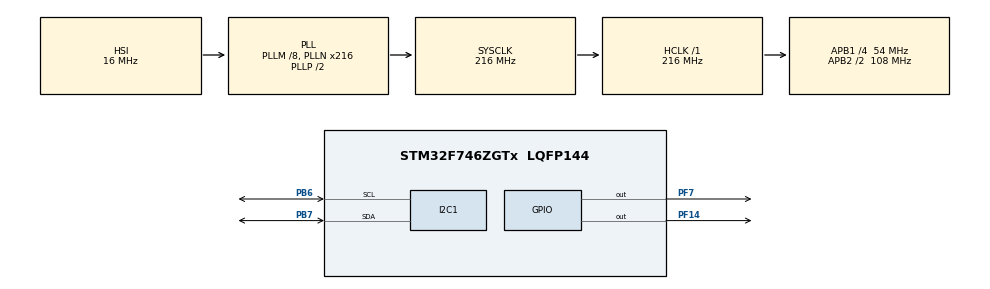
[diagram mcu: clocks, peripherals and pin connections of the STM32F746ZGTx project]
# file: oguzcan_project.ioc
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FREERTOS.Tasks01=defaultTask,24,128,StartDefaultTask,Default,NULL,Dynamic,NULL,NULL;sense,24,128,read_pressure,Default,NULL,Dynamic,NULL,NULL;decide,24,128,explosion,Default,NULL,Dynamic,NULL,NULL
FREERTOS.configUSE_NEWLIB_REENTRANT=1
I2C1.Timing=0x20404768
Mcu.Family=STM32F7
Mcu.Name=STM32F746ZGTx
Mcu.Package=LQFP144
NVIC.PriorityGroup=NVIC_PRIORITYGROUP_4
NVIC.TIM1_UP_TIM10_IRQn=true\:15\:0\:false\:false\:true\:false\:false\:true\:true
NVIC.TimeBase=TIM1_UP_TIM10_IRQn
NVIC.TimeBaseIP=TIM1
PA13.Mode=Serial_Wire
PA13.Signal=SYS_JTMS-SWDIO
PA14.Mode=Serial_Wire
PA14.Signal=SYS_JTCK-SWCLK
PB6.Mode=I2C
PB6.Signal=I2C1_SCL
PB7.Mode=I2C
PB7.Signal=I2C1_SDA
PF14.Signal=GPIO_Output
PF7.Signal=GPIO_Output
ProjectManager.HeapSize=0x200
ProjectManager.StackSize=0x400
ProjectManager.TargetToolchain=STM32CubeIDE
RCC.AHBFreq_Value=216000000
RCC.APB1CLKDivider=RCC_HCLK_DIV4
RCC.APB1Freq_Value=54000000
RCC.APB1TimFreq_Value=108000000
RCC.APB2CLKDivider=RCC_HCLK_DIV2
RCC.APB2Freq_Value=108000000
RCC.APB2TimFreq_Value=216000000
RCC.CortexFreq_Value=216000000
RCC.HCLKFreq_Value=216000000
RCC.HSE_VALUE=25000000
RCC.HSI_VALUE=16000000
RCC.LSE_VALUE=32768
RCC.PLLM=8
RCC.PLLN=216
RCC.SYSCLKFreq_VALUE=216000000
RCC.SYSCLKSource=RCC_SYSCLKSOURCE_PLLCLK
RCC.USBFreq_Value=216000000
RCC.VCOOutputFreq_Value=432000000
VP_FREERTOS_VS_CMSIS_V2.Mode=CMSIS_V2
VP_SYS_VS_tim1.Mode=TIM1
board=custom

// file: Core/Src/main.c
/* USER CODE BEGIN Header */
/**
  ******************************************************************************
  * @file           : main.c
  * @brief          : Main program body
  ******************************************************************************
  * @attention
  *
  * Copyright (c) 2023 STMicroelectronics.
  * All rights reserved.
  *
  * This software is licensed under terms that can be found in the LICENSE file
  * in the root directory of this software component.
  * If no LICENSE file comes with this software, it is provided AS-IS.
  *
  ******************************************************************************
  */
/* USER CODE END Header */
#include "main.h"
#include "cmsis_os.h"

/* USER CODE BEGIN Includes */
#include "bmp280.h"
/* USER CODE END Includes */

/* USER CODE BEGIN PTD */
BMP280_HandleTypedef bmp280;
/* USER CODE END PTD */

/* USER CODE BEGIN PM */
float pressure, temperature, humidity, altitude, reference_altitude, related_altitude;
int i;
/* USER CODE END PM */

I2C_HandleTypeDef hi2c1;

/* Definitions for defaultTask */
osThreadId_t defaultTaskHandle;
const osThreadAttr_t defaultTask_attributes = {
  .name = "defaultTask",
  .stack_size = 128 * 4,
  .priority = (osPriority_t) osPriorityNormal,
};
/* Definitions for sense */
osThreadId_t senseHandle;
const osThreadAttr_t sense_attributes = {
  .name = "sense",
  .stack_size = 128 * 4,
  .priority = (osPriority_t) osPriorityNormal,
};
/* Definitions for decide */
osThreadId_t decideHandle;
const osThreadAttr_t decide_attributes = {
  .name = "decide",
  .stack_size = 128 * 4,
  .priority = (osPriority_t) osPriorityNormal,
};

void SystemClock_Config(void);
static void MX_GPIO_Init(void);
static void MX_I2C1_Init(void);
void StartDefaultTask(void *argument);
void read_pressure(void *argument);
void explosion(void *argument);

int main(void)
{

  /* MCU Configuration--------------------------------------------------------*/

  /* Reset of all peripherals, Initializes the Flash interface and the Systick. */
  HAL_Init();

  /* Configure the system clock */
  SystemClock_Config();

  /* Initialize all configured peripherals */
  MX_GPIO_Init();
  MX_I2C1_Init();

  /* Init scheduler */
  osKernelInitialize();

  /* Create the thread(s) */
  /* creation of defaultTask */
  defaultTaskHandle = osThreadNew(StartDefaultTask, NULL, &defaultTask_attributes);

  /* creation of sense */
  senseHandle = osThreadNew(read_pressure, NULL, &sense_attributes);

  /* creation of decide */
  decideHandle = osThreadNew(explosion, NULL, &decide_attributes);

  /* Start scheduler */
  osKernelStart();

  /* We should never get here as control is now taken by the scheduler */
  /* Infinite loop */
  while (1)
  {

  }
}

void SystemClock_Config(void)
{
  RCC_OscInitTypeDef RCC_OscInitStruct = {0};
  RCC_ClkInitTypeDef RCC_ClkInitStruct = {0};

  /** Configure the main internal regulator output voltage
  */
  __HAL_RCC_PWR_CLK_ENABLE();
  __HAL_PWR_VOLTAGESCALING_CONFIG(PWR_REGULATOR_VOLTAGE_SCALE1);

  /** Initializes the RCC Oscillators according to the specified parameters
  * in the RCC_OscInitTypeDef structure.
  */
  RCC_OscInitStruct.OscillatorType = RCC_OSCILLATORTYPE_HSI;
  RCC_OscInitStruct.HSIState = RCC_HSI_ON;
  RCC_OscInitStruct.HSICalibrationValue = RCC_HSICALIBRATION_DEFAULT;
  RCC_OscInitStruct.PLL.PLLState = RCC_PLL_ON;
  RCC_OscInitStruct.PLL.PLLSource = RCC_PLLSOURCE_HSI;
  RCC_OscInitStruct.PLL.PLLM = 8;
  RCC_OscInitStruct.PLL.PLLN = 216;
  RCC_OscInitStruct.PLL.PLLP = RCC_PLLP_DIV2;
  RCC_OscInitStruct.PLL.PLLQ = 2;
  if (HAL_RCC_OscConfig(&RCC_OscInitStruct) != HAL_OK)
  {
    Error_Handler();
  }

  /** Activate the Over-Drive mode
  */
  if (HAL_PWREx_EnableOverDrive() != HAL_OK)
  {
    Error_Handler();
  }

  /** Initializes the CPU, AHB and APB buses clocks
  */
  RCC_ClkInitStruct.ClockType = RCC_CLOCKTYPE_HCLK|RCC_CLOCKTYPE_SYSCLK
                              |RCC_CLOCKTYPE_PCLK1|RCC_CLOCKTYPE_PCLK2;
  RCC_ClkInitStruct.SYSCLKSource = RCC_SYSCLKSOURCE_PLLCLK;
  RCC_ClkInitStruct.AHBCLKDivider = RCC_SYSCLK_DIV1;
  RCC_ClkInitStruct.APB1CLKDivider = RCC_HCLK_DIV4;
  RCC_ClkInitStruct.APB2CLKDivider = RCC_HCLK_DIV2;

  if (HAL_RCC_ClockConfig(&RCC_ClkInitStruct, FLASH_LATENCY_7) != HAL_OK)
  {
    Error_Handler();
  }
}

static void MX_I2C1_Init(void)
{

  hi2c1.Instance = I2C1;
  hi2c1.Init.Timing = 0x20404768;
  hi2c1.Init.OwnAddress1 = 0;
  hi2c1.Init.AddressingMode = I2C_ADDRESSINGMODE_7BIT;
  hi2c1.Init.DualAddressMode = I2C_DUALADDRESS_DISABLE;
  hi2c1.Init.OwnAddress2 = 0;
  hi2c1.Init.OwnAddress2Masks = I2C_OA2_NOMASK;
  hi2c1.Init.GeneralCallMode = I2C_GENERALCALL_DISABLE;
  hi2c1.Init.NoStretchMode = I2C_NOSTRETCH_DISABLE;
  if (HAL_I2C_Init(&hi2c1) != HAL_OK)
  {
    Error_Handler();
  }

  /** Configure Analogue filter
  */
  if (HAL_I2CEx_ConfigAnalogFilter(&hi2c1, I2C_ANALOGFILTER_ENABLE) != HAL_OK)
  {
    Error_Handler();
  }

  /** Configure Digital filter
  */
  if (HAL_I2CEx_ConfigDigitalFilter(&hi2c1, 0) != HAL_OK)
  {
    Error_Handler();
  }

}

static void MX_GPIO_Init(void)
{
  GPIO_InitTypeDef GPIO_InitStruct = {0};

  /* GPIO Ports Clock Enable */
  __HAL_RCC_GPIOF_CLK_ENABLE();
  __HAL_RCC_GPIOA_CLK_ENABLE();
  __HAL_RCC_GPIOB_CLK_ENABLE();

  /*Configure GPIO pin Output Level */
  HAL_GPIO_WritePin(GPIOF, GPIO_PIN_7|GPIO_PIN_14, GPIO_PIN_RESET);

  /*Configure GPIO pins : PF7 PF14 */
  GPIO_InitStruct.Pin = GPIO_PIN_7|GPIO_PIN_14;
  GPIO_InitStruct.Mode = GPIO_MODE_OUTPUT_PP;
  GPIO_InitStruct.Pull = GPIO_NOPULL;
  GPIO_InitStruct.Speed = GPIO_SPEED_FREQ_LOW;
  HAL_GPIO_Init(GPIOF, &GPIO_InitStruct);

}

void StartDefaultTask(void *argument)
{
  for(;;)
  {
    osDelay(1);
  }
}

void read_pressure(void *argument)
{
  /* USER CODE BEGIN read_pressure */
	  #define seaLevelhPa 101323

	  bmp280_init_default_params(&bmp280.params);
	  bmp280.addr = BMP280_I2C_ADDRESS_0;
	  bmp280.i2c = &hi2c1;
	  bmp280_init(&bmp280, &bmp280.params);
	  bool bme280p = bmp280.id == BMP280_CHIP_ID;

	  for(i=0;i<500;i++)
	  {
		  bmp280_read_float(&bmp280, &temperature, &pressure, &humidity);
		  reference_altitude = 44330 * (1.0 - pow(pressure / seaLevelhPa, 0.1903));
	  }

  /* Infinite loop */
  for(;;)
  {
	  bmp280_read_float(&bmp280, &temperature, &pressure, &humidity);
	  altitude = 44330 * (1.0 - pow(pressure / seaLevelhPa, 0.1903));
	  related_altitude = altitude - reference_altitude;

    osDelay(1);
  }
  /* USER CODE END read_pressure */
}

void explosion(void *argument)
{
  /* USER CODE BEGIN explosion */
  /* Infinite loop */
  for(;;)
  {

	if(related_altitude > 5)
	{
		HAL_GPIO_WritePin(GPIOF, GPIO_PIN_7, GPIO_PIN_SET);
		osDelay(100);
		HAL_GPIO_WritePin(GPIOF, GPIO_PIN_7, GPIO_PIN_RESET);
		osDelay(100);
		HAL_GPIO_WritePin(GPIOF, GPIO_PIN_14, GPIO_PIN_SET);
		osDelay(100);
		HAL_GPIO_WritePin(GPIOF, GPIO_PIN_14, GPIO_PIN_RESET);
		osDelay(100);

	}

    osDelay(1);
  }
  /* USER CODE END explosion */
}

void HAL_TIM_PeriodElapsedCallback(TIM_HandleTypeDef *htim)
{
  if (htim->Instance == TIM1) {
    HAL_IncTick();
  }
}

void Error_Handler(void)
{
  __disable_irq();
  while (1)
  {
  }
}
